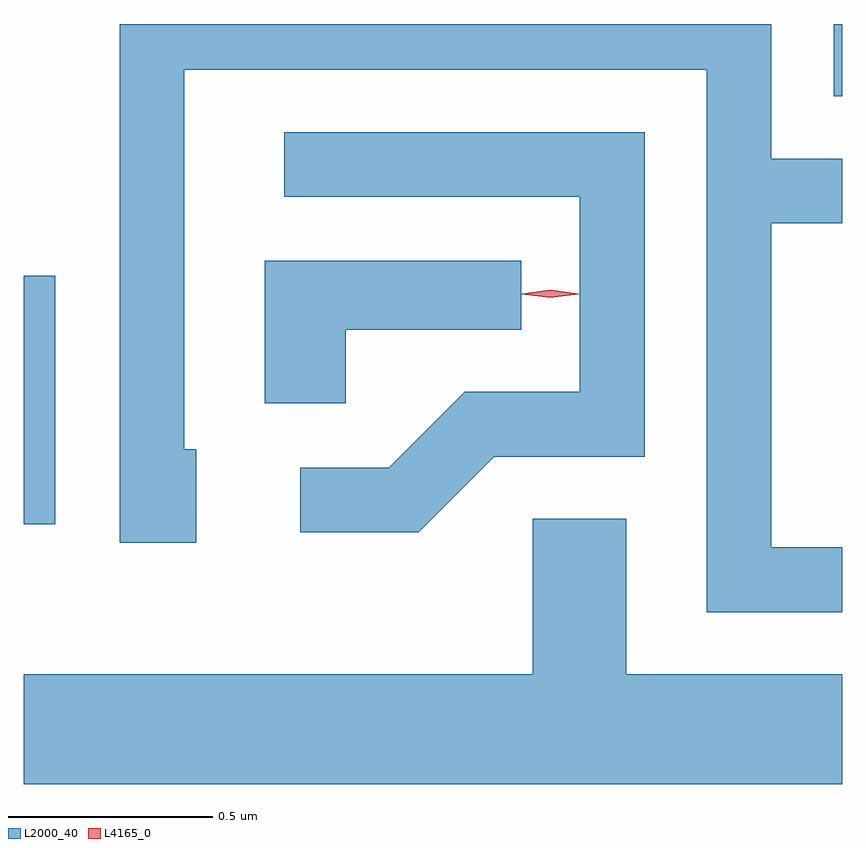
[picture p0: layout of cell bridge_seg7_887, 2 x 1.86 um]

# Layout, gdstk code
import gdstk
lib = gdstk.Library(unit=1e-6, precision=1e-09)
def R(c, l, rs):  # rectangles x0, y0, x1, y1
    for r in rs: c.add(gdstk.rectangle(r[:2], r[2:], *l))
def P(c, l, *ps):  # polygons
    for p in ps: c.add(gdstk.Polygon(p, *l))
L2000_40 = (2000, 40)
L4165_0 = (4165, 0)

bridge_seg7_887 = lib.new_cell('bridge_seg7_887')
R(bridge_seg7_887, L2000_40, [(300.177,1694.971,300.254,1695.578), (302.156,1696.016,302.177,1696.193)])
P(bridge_seg7_887, L2000_40, [(302.177,1694.914),(302.004,1694.914),(302.004,1695.706),(302.177,1695.706),(302.177,1695.864),(302.004,1695.864),(302.004,1696.193),(300.411,1696.193),(300.411,1694.926),(300.599,1694.926),(300.599,1695.154),(300.569,1695.154),(300.569,1696.081),(301.846,1696.081),(301.846,1694.756),(302.177,1694.756)],
  [(301.327,1695.136),(301.694,1695.136),(301.694,1695.929),(300.813,1695.929),(300.813,1695.771),(301.536,1695.771),(301.536,1695.294),(301.254,1695.294),(301.069,1695.109),(300.853,1695.109),(300.853,1694.951),(301.142,1694.951)],
  [(300.964,1695.446),(301.393,1695.446),(301.393,1695.614),(300.766,1695.614),(300.766,1695.266),(300.964,1695.266)],
  [(302.177,1694.604),(301.649,1694.604),(301.649,1694.984),(301.421,1694.984),(301.421,1694.604),(300.177,1694.604),(300.177,1694.336),(302.177,1694.336)])
P(bridge_seg7_887, L4165_0, [(301.464,1695.524),(301.394,1695.533),(301.394,1695.534),(301.394,1695.534),(301.464,1695.544),(301.533,1695.534),(301.533,1695.534),(301.533,1695.533)])

lib.write_gds('bridge_seg7_887.gds')
